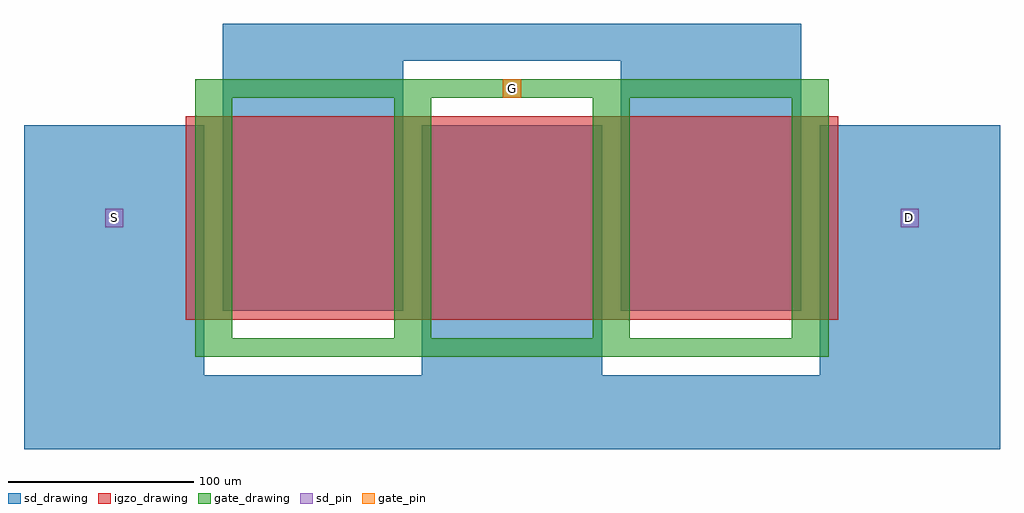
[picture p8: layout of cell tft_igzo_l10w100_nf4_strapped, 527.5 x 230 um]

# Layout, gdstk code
import gdstk
lib = gdstk.Library(unit=1e-6, precision=1e-09)
def R(c, l, rs):  # rectangles x0, y0, x1, y1
    for r in rs: c.add(gdstk.rectangle(r[:2], r[2:], *l))
def A(c, l, x, y, w, h, nx, ny, dx, dy):  # array of equal rectangles
    R(c, l, [(x+i*dx, y+j*dy, x+i*dx+w, y+j*dy+h) for i in range(nx) for j in range(ny)])
gate_drawing = (2, 0)
gate_pin = (2, 10)
igzo_drawing = (4, 0)
sd_drawing = (6, 0)
sd_pin = (6, 10)

tft_igzo_l10w100_nf4_str = lib.new_cell('tft_igzo_l10w100_nf4_strapped')
A(tft_igzo_l10w100_nf4_str, gate_drawing, -171.25, -65, 20, 130, 4, 1, 107.5, 0)
R(tft_igzo_l10w100_nf4_str, gate_drawing, [(-171.25,-75,171.25,-65), (-171.25,65,171.25,75)])
R(tft_igzo_l10w100_nf4_str, gate_pin, [(-4.88,65.12,4.88,74.88)])
R(tft_igzo_l10w100_nf4_str, igzo_drawing, [(-176.25,-55,176.25,55)])
A(tft_igzo_l10w100_nf4_str, sd_drawing, -263.75, -105, 97.5, 55, 3, 1, 215, 0)
A(tft_igzo_l10w100_nf4_str, sd_drawing, -263.75, -50, 97.5, 100, 5, 1, 107.5, 0)
R(tft_igzo_l10w100_nf4_str, sd_drawing, [(-263.75,-125,263.75,-85), (-156.25,50,-58.75,95), (58.75,50,156.25,95), (-156.25,85,156.25,105)])
R(tft_igzo_l10w100_nf4_str, sd_pin, [(-219.88,-4.88,-210.12,4.88), (210.12,-4.88,219.88,4.88)])
tft_igzo_l10w100_nf4_str.add(gdstk.Label('S', (-215,0), layer=6, texttype=10))
tft_igzo_l10w100_nf4_str.add(gdstk.Label('D', (215,0), layer=6, texttype=10))
tft_igzo_l10w100_nf4_str.add(gdstk.Label('G', (0,70), layer=2, texttype=10))

lib.write_gds('tft_igzo_l10w100_nf4_strapped.gds')
